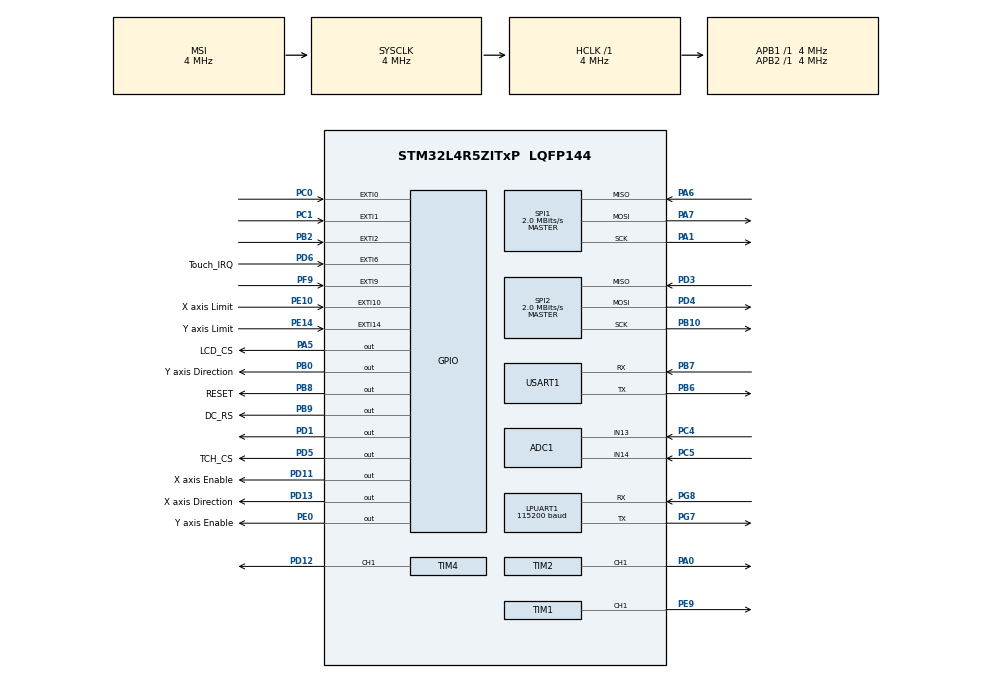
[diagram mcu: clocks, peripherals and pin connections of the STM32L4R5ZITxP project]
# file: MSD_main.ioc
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ADC1.Channel-1\#ChannelRegularConversion=ADC_CHANNEL_13
ADC1.NbrOfConversionFlag=1
ADC1.OffsetNumber-1\#ChannelRegularConversion=ADC_OFFSET_NONE
ADC1.Rank-1\#ChannelRegularConversion=1
ADC1.SamplingTime-1\#ChannelRegularConversion=ADC_SAMPLETIME_2CYCLES_5
ADC1.master=1
LPUART1.BaudRate=115200
LPUART1.WordLength=UART_WORDLENGTH_8B
Mcu.Family=STM32L4
Mcu.Name=STM32L4R5ZITxP
Mcu.Package=LQFP144
NVIC.EXTI15_10_IRQn=true\:0\:0\:false\:false\:true\:true\:true\:true
NVIC.EXTI1_IRQn=true\:0\:0\:false\:false\:true\:true\:true\:true
NVIC.EXTI2_IRQn=true\:0\:0\:false\:false\:true\:true\:true\:true
NVIC.EXTI9_5_IRQn=true\:0\:0\:false\:false\:true\:true\:true\:true
NVIC.PriorityGroup=NVIC_PRIORITYGROUP_4
NVIC.TIM1_UP_TIM16_IRQn=true\:0\:0\:false\:false\:true\:true\:true\:true
NVIC.TIM2_IRQn=true\:0\:0\:false\:false\:true\:true\:true\:true
NVIC.TIM4_IRQn=true\:0\:0\:false\:false\:true\:true\:true\:true
PA0.Signal=S_TIM2_CH1
PA1.Mode=Full_Duplex_Master
PA1.Signal=SPI1_SCK
PA13\ (JTMS/SWDIO).Signal=SYS_JTMS-SWDIO
PA14\ (JTCK/SWCLK).Signal=SYS_JTCK-SWCLK
PA3.Signal=ADCx_IN8
PA4.Signal=SPI1_NSS
PA5.GPIO_Label=LCD_CS
PA5.Signal=GPIO_Output
PA6.Mode=Full_Duplex_Master
PA6.Signal=SPI1_MISO
PA7.Mode=Full_Duplex_Master
PA7.Signal=SPI1_MOSI
PA8.Signal=USB_OTG_FS_SOF
PB0.GPIO_Label=Y axis Direction
PB0.Signal=GPIO_Output
PB1.Signal=ADCx_IN16
PB10.Mode=Full_Duplex_Master
PB10.Signal=SPI2_SCK
PB12.Signal=SAI2_FS_A
PB13.Signal=SAI2_SCK_A
PB14.Signal=S_TIM15_CH1
PB15.Signal=SAI2_SD_A
PB2.GPIO_PuPd=GPIO_PULLUP
PB2.Signal=GPXTI2
PB3\ (JTDO/TRACESWO).Signal=SPI3_SCK
PB4\ (NJTRST).Signal=SPI3_MISO
PB5.Signal=SPI3_MOSI
PB6.Mode=Asynchronous
PB6.Signal=USART1_TX
PB7.Mode=Asynchronous
PB7.Signal=USART1_RX
PB8.GPIO_Label=RESET
PB8.PinState=GPIO_PIN_SET
PB8.Signal=GPIO_Output
PB9.GPIO_Label=DC_RS
PB9.Signal=GPIO_Output
PC0.Signal=GPXTI0
PC1.GPIO_ModeDefaultEXTI=GPIO_MODE_IT_FALLING
PC1.GPIO_PuPd=GPIO_PULLUP
PC1.Signal=GPXTI1
PC10.Signal=SDMMC1_D2
PC11.Signal=SDMMC1_D3
PC12.Signal=SDMMC1_CK
PC13.Signal=SYS_WKUP2
PC14-OSC32_IN\ (PC14).Signal=RCC_OSC32_IN
PC15-OSC32_OUT\ (PC15).Signal=RCC_OSC32_OUT
PC3.Signal=ADCx_IN4
PC4.Signal=ADCx_IN13
PC5.Signal=ADCx_IN14
PC6.Signal=SAI2_MCLK_A
PC7.Signal=S_TIM3_CH2
PC8.Signal=SDMMC1_D0
PC9.Signal=SDMMC1_D1
PD0.Signal=CAN1_RX
PD1.Signal=GPIO_Output
PD11.GPIO_Label=X axis Enable
PD11.Signal=GPIO_Output
PD12.Signal=S_TIM4_CH1
PD13.GPIO_Label=X axis Direction
PD13.Signal=GPIO_Output
PD14.Signal=S_TIM4_CH3
PD15.Signal=S_TIM4_CH4
PD2.Signal=SDMMC1_CMD
PD3.Mode=Full_Duplex_Master
PD3.Signal=SPI2_MISO
PD4.Mode=Full_Duplex_Master
PD4.Signal=SPI2_MOSI
PD5.GPIO_Label=TCH_CS
PD5.PinState=GPIO_PIN_SET
PD5.Signal=GPIO_Output
PD6.GPIO_Label=Touch_IRQ
PD6.GPIO_ModeDefaultEXTI=GPIO_MODE_IT_FALLING
PD6.GPIO_PuPd=GPIO_PULLUP
PD6.Signal=GPXTI6
PD8.Signal=USART3_TX
PD9.Signal=USART3_RX
PE0.GPIO_Label=Y axis Enable
PE0.Signal=GPIO_Output
PE10.GPIO_Label=X axis Limit
PE10.GPIO_ModeDefaultEXTI=GPIO_MODE_IT_FALLING
PE10.GPIO_PuPd=GPIO_PULLUP
PE10.Signal=GPXTI10
PE11.Signal=S_TIM1_CH2
PE12.Signal=TIM1_CH3N
PE13.Signal=S_TIM1_CH3
PE14.GPIO_Label=Y axis Limit
PE14.GPIO_ModeDefaultEXTI=GPIO_MODE_IT_FALLING
PE14.GPIO_PuPd=GPIO_PULLUP
PE14.Signal=GPXTI14
PE15.Signal=TIM1_BKIN
PE2.Signal=SAI1_MCLK_A
PE3.Signal=SAI1_SD_B
PE7.Signal=S_TIM1_ETR
PE8.Signal=TIM1_CH1N
PE9.Signal=S_TIM1_CH1
PF0.Signal=I2C2_SDA
PF1.Signal=I2C2_SCL
PF2.Signal=I2C2_SMBA
PF7.Signal=SAI1_MCLK_B
PF9.GPIO_ModeDefaultEXTI=GPIO_MODE_IT_FALLING
PF9.Signal=GPXTI9
PG7.Mode=Asynchronous
PG7.Signal=LPUART1_TX
PG8.Mode=Asynchronous
PG8.Signal=LPUART1_RX
PH0-OSC_IN\ (PH0).Signal=RCC_OSC_IN
PH1-OSC_OUT\ (PH1).Signal=RCC_OSC_OUT
ProjectManager.HeapSize=0x200
ProjectManager.StackSize=0x400
ProjectManager.TargetToolchain=STM32CubeIDE
RCC.ADCFreq_Value=32000000
RCC.AHBFreq_Value=4000000
RCC.APB1Freq_Value=4000000
RCC.APB1TimFreq_Value=4000000
RCC.APB2Freq_Value=4000000
RCC.APB2TimFreq_Value=4000000
RCC.CortexFreq_Value=4000000
RCC.HCLKFreq_Value=4000000
RCC.HSE_VALUE=8000000
RCC.HSI48_VALUE=48000000
RCC.HSI_VALUE=16000000
RCC.LSE_VALUE=32768
RCC.MSI_VALUE=4000000
RCC.PLLSAI1N=16
RCC.SYSCLKFreq_VALUE=4000000
RCC.USBFreq_Value=32000000
RCC.VCOOutputFreq_Value=32000000
SH.ADCx_IN13.0=ADC1_IN13,IN13-Single-Ended
SH.ADCx_IN14.0=ADC1_IN14,IN14-Single-Ended
SH.ADCx_IN16.0=ADC1_IN16
SH.ADCx_IN4.0=ADC1_IN4
SH.ADCx_IN8.0=ADC1_IN8
SH.S_TIM15_CH1.0=TIM15_CH1
SH.S_TIM1_CH1.0=TIM1_CH1,PWM Generation1 CH1
SH.S_TIM1_CH2.0=TIM1_CH2
SH.S_TIM1_CH3.0=TIM1_CH3
SH.S_TIM1_ETR.0=TIM1_ETR
SH.S_TIM2_CH1.0=TIM2_CH1,PWM Generation1 CH1
SH.S_TIM3_CH2.0=TIM3_CH2
SH.S_TIM4_CH1.0=TIM4_CH1,PWM Generation1 CH1
SH.S_TIM4_CH3.0=TIM4_CH3
SH.S_TIM4_CH4.0=TIM4_CH4
SPI1.CalculateBaudRate=2.0 MBits/s
SPI1.DataSize=SPI_DATASIZE_8BIT
SPI1.Direction=SPI_DIRECTION_2LINES
SPI1.Mode=SPI_MODE_MASTER
SPI1.VirtualType=VM_MASTER
SPI2.CalculateBaudRate=2.0 MBits/s
SPI2.DataSize=SPI_DATASIZE_8BIT
SPI2.Direction=SPI_DIRECTION_2LINES
SPI2.Mode=SPI_MODE_MASTER
SPI2.VirtualType=VM_MASTER
TIM1.Channel-PWM\ Generation1\ CH1=TIM_CHANNEL_1
TIM1.Period=999
TIM1.Prescaler=1
TIM1.Pulse-PWM\ Generation1\ CH1=500
TIM1.RepetitionCounter=0
TIM2.AutoReloadPreload=TIM_AUTORELOAD_PRELOAD_ENABLE
TIM2.Channel-PWM\ Generation1\ CH1=TIM_CHANNEL_1
TIM2.Period=999
TIM2.Prescaler=1
TIM2.Pulse-PWM\ Generation1\ CH1=500
TIM4.AutoReloadPreload=TIM_AUTORELOAD_PRELOAD_ENABLE
TIM4.Channel-PWM\ Generation1\ CH1=TIM_CHANNEL_1
TIM4.Period=999
TIM4.Prescaler=1
TIM4.Pulse-PWM\ Generation1\ CH1=500
USART1.FIFOMode=FIFOMODE_ENABLE
USART1.VirtualMode-Asynchronous=VM_ASYNC
VP_TIM1_VS_ClockSourceINT.Mode=Internal
VP_TIM2_VS_ClockSourceINT.Mode=Internal
VP_TIM4_VS_ClockSourceINT.Mode=Internal
board=NUCLEO-L4R5ZI-P

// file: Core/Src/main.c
/* USER CODE BEGIN Header */
/**
  ******************************************************************************
  * @file           : main.c
  * @brief          : Main program body
  ******************************************************************************
  */
/* USER CODE END Header */
#include "main.h"
#include "adc.h"
#include "usart.h"
#include "spi.h"
#include "tim.h"
#include "gpio.h"

/* USER CODE BEGIN Includes */
#include "gmove.h"
#include "stdio.h"
#include "joystick.h"
#include "lcd_touch.h"
#include "path_data.h"
#include<stdlib.h>
/* USER CODE END Includes */

/* USER CODE BEGIN PD */
#define percentDist(p) ((p) * 5.03238)
#define percentIR(p) (uint16_t)(((uint32_t)(p) * 100) / 1023)
/* USER CODE END PD */

/* USER CODE BEGIN PV */

volatile uint8_t trigger_lcd_touch = 0;
volatile uint8_t trigger_ir_active = 0;
volatile uint8_t trigger_joystick = 0;

extern const int path_lengths[];
extern const double paths[][MAX_POINTS][COORDS];

// --- LCD Touch Tracking Variables ---

  uint8_t play_user_path = 0; // 0: Play default designs | 1: Play user design
  extern int prev_x;
  extern int prev_y;

  extern volatile int lpx;
  extern volatile int lpy;

/* USER CODE END PV */

void SystemClock_Config(void);

/* USER CODE BEGIN 0 */
volatile uint8_t manual_mode = 0;
volatile uint8_t ir_mode = 1;
volatile SystemState current_state = STATE_AUTO_DRAW;

 volatile int user_lcd_path[MAX_LCD_POINTS][2];
 volatile int user_path_length = 0;

volatile uint8_t touch_flag = 0;
volatile uint8_t uart_flag = 0;
uint8_t rx_byte;
uint8_t rx_buffer[5];
uint8_t rx_index = 0;
uint32_t last_activity = 0;

volatile int sendingflag = 0;

void HAL_UART_RxCpltCallback(UART_HandleTypeDef *huart) {
    if (huart->Instance == USART1) {
        if (rx_index == 0 && (rx_byte == 0xAA || rx_byte == 0xAB)) {
            rx_buffer[0] = rx_byte;
            rx_index++;
        } else if (rx_index > 0) {
            rx_buffer[rx_index++] = rx_byte;
            if (rx_index == 5) {
                uart_flag = 1;
                rx_index = 0;
            }
        }
        HAL_UART_Receive_IT(&huart1, &rx_byte, 1);
    }
}
/* USER CODE END 0 */

int main(void)
{

  /* MCU Configuration--------------------------------------------------------*/

  /* Reset of all peripherals, Initializes the Flash interface and the Systick. */
  HAL_Init();

  /* Configure the system clock */
  SystemClock_Config();

  /* Initialize all configured peripherals */
  MX_GPIO_Init();
  MX_TIM1_Init();
  MX_TIM2_Init();
  MX_TIM4_Init();
  MX_ADC1_Init();
  MX_LPUART1_UART_Init();
  MX_USART1_UART_Init();
  MX_SPI1_Init();
  MX_SPI2_Init();
  /* USER CODE BEGIN 2 */
    LCD_Init();
    LCD_ClearScreen();
    LCD_DrawingInit();

    JoyCal joy = {2063.00, 2080.00, 0.00054599, -0.00006252, 0.00001426, -0.00100615};

    float x_out, y_out, mag, angle;

    printf("Homing Gantry...\r\n");
    Gantry_Home();
    printf("Homed!\r\n");

//    uint32_t last_print = 0;
//    int point_index = 0;

    uint32_t last_joy = 0;
  /* USER CODE END 2 */

  /* Infinite loop */
  /* USER CODE BEGIN WHILE */

    // FSM Tracking Variables
      uint8_t auto_draw_step = 0; // 0: Draw, 1: Wait, 2: Move to start, 3: Clear
      uint32_t wait_start_time = 0;
      uint8_t current_design_index = 0; // Tracks which of the 5 designs we are drawing

      setvbuf(stdout, NULL, _IONBF, 0);

      //lcd variables

    while (1)
      {
//          if (touch_flag) {
//              touch_flag = 0;
//              last_activity = HAL_GetTick();
//          }
//
//          if (uart_flag) {
//              uart_flag = 0;
//              last_activity = HAL_GetTick();
//
//              uint16_t x = ((uint16_t)rx_buffer[1] << 8) | rx_buffer[2];
//              uint16_t y = ((uint16_t)rx_buffer[3] << 8) | rx_buffer[4];
//
//              if (rx_buffer[0] == 0xAA) LCD_IRPointerCircle(x, y, 3);
//              else LCD_DrawingPointerCircle(x, y, 3);
//
//              uint16_t irx = percentIR(x);
//              uint16_t iry = percentIR(y);
//              if (!(irx == 100 && iry == 100)) {
//                  lineMove(percentDist(irx), percentDist(iry), 100);
//              }
//          }
//
//          if (manual_mode && (HAL_GetTick() - last_joy > 20)) {
//              last_joy = HAL_GetTick();
//
//              int rawX = getX();
//              int rawY = getY();
//
//              // Deadzone based on your new center values
//              if (abs(rawX - 2063) > 150 || abs(rawY - 2080) > 150) {
//                  last_activity = HAL_GetTick();
//                  joystick_correct(&joy, rawX, rawY, &x_out, &y_out, &mag, &angle);
//                  joyMove(x_out, y_out);
//              } else {
//                  joyMove(0, 0);
//              }
//          }
//
//          if (!manual_mode && (HAL_GetTick() - last_activity > 10000)) {
//              procCSV();
//              last_activity = HAL_GetTick();
//          }
    	//start new code

    	switch (current_state) {

    	          // ==========================================
    	          case STATE_BOOT_HOMING:
    	              // Homing was already done in setup, but we leave this here
    	              // in case you ever want to call a re-home during runtime.
    	              current_state = STATE_AUTO_DRAW;
    	              break;
    	                  	          // ==========================================
    	              // ==========================================
    	                        case STATE_AUTO_DRAW:
    	                            switch(auto_draw_step) {

    	                                // STEP 0: Draw the design
    	                                case 0:
    	                                    // 1. DETERMINE WHICH ARRAY TO USE
    	                                    int current_length = (play_user_path) ? user_path_length : path_lengths[current_design_index];

    	                                    if (play_user_path) {
    	                                        printf("Drawing User LCD Path...\r\n");
    	                                    } else {
    	                                        printf("Drawing design %d...\r\n", current_design_index);
    	                                    }

    	                                    // Loop through the specific number of points for THIS design
    	                                    for (int i = 0; i < current_length; i++) {

    	                                        // 2. FETCH FROM THE CORRECT ARRAY
    	                                        double target_x = (play_user_path) ? user_lcd_path[i][0] : paths[current_design_index][i][0];
    	                                        double target_y = (play_user_path) ? user_lcd_path[i][1] : paths[current_design_index][i][1];

    	                                        // Use your existing lineMove function and percent macros
    	                                        lineMove(percentDist(target_x), percentDist(target_y), 100);

    	                                        // Quick safety break if user pressed the manual mode button OR touched the screen mid-draw
    	                                        if (manual_mode || current_state == STATE_LCD_MODE || current_state == STATE_IR_MODE || current_state == STATE_LCD_INTER) break;
    	                                    }

    	                                    // Transition to Wait Step
    	                                    wait_start_time = HAL_GetTick();
    	                                    auto_draw_step = 1;
    	                                    break;

    	                                // STEP 1: Wait 10 seconds
    	                                case 1:
    	                                    // Only advance once 10,000 milliseconds have passed
    	                                    if ((HAL_GetTick() - wait_start_time) >= 10000) {
    	                                        // Advance to the next design index, looping back to 0 if we hit NUM_DESIGNS
    	                                        // ONLY do this if we are playing default paths!
    	                                        if (!play_user_path) {
    	                                            current_design_index = (current_design_index + 1) % NUM_DESIGNS;
    	                                        }
    	                                        auto_draw_step = 2;
    	                                    }
    	                                    break;

    	                                // STEP 2: Move to the first point of the NEXT design
    	                                case 2:
    	                                    printf("Moving to start of next design...\r\n");

    	                                    // 3. FETCH THE STARTING POINT FROM THE CORRECT ARRAY
    	                                    double start_x = (play_user_path) ? user_lcd_path[0][0] : paths[current_design_index][0][0];
    	                                    double start_y = (play_user_path) ? user_lcd_path[0][1] : paths[current_design_index][0][1];

    	                                    lineMove(percentDist(start_x), percentDist(start_y), 100);

    	                                    auto_draw_step = 3;
    	                                    break;

    	                                // STEP 3: Perform the mechanical clear
    	                                case 3:
    	                                    printf("Mechanical Clear sequence triggered...\r\n");

    	                                    // CALL EXTERNAL CLEARING FUNCTION HERE LATER
    	                                    Mechanical_Clear_Sequence();

    	                                    // Loop back to Step 0 to draw the new design
    	                                    auto_draw_step = 0;
    	                                    break;
    	                            }

    	                            // --- Interrupt Checks for Auto Draw ---
    	                            // If the physical button changed manual_mode to 1, break out!
    	                            if (manual_mode) {
    	                                printf("Switching to Joystick Mode!\r\n");
    	                                current_state = STATE_JOYSTICK_MODE;
    	                            }
    	                            // The LCD transition is already handled safely by the Touch_EXTI_Callback!

    	                            break; // End of STATE_AUTO_DRAW

    	          // ==========================================
    	          case STATE_JOYSTICK_MODE:

    	              // Run joystick if we are past the 20ms debounce/refresh rate
    	              if (HAL_GetTick() - last_joy > 20) {
    	                  last_joy = HAL_GetTick();

    	                  int rawX = getX();
    	                  int rawY = getY();

    	                  // Deadzone check
    	                  if (abs(rawX - 2063) > 150 || abs(rawY - 2080) > 150) {
    	                      joystick_correct(&joy, rawX, rawY, &x_out, &y_out, &mag, &angle);
    	                      joyMove(x_out, y_out);
    	                  } else {
    	                      joyMove(0, 0); // Stop motors if stick is centered
    	                  }
    	              }

    	              // Exit condition: if the button is pressed again, return to Auto Draw
    	              if (!manual_mode) {
    	                  printf("Switching back to Auto Draw!\r\n");
    	                  joyMove(0, 0); // Ensure motors stop completely

						printf("Rehoming gantry to reset open-loop coordinates...\r\n");
						Gantry_Home();
						printf("Homed!\r\n");

						// Reset the Auto Draw state machine so it clears the board and starts fresh
						auto_draw_step = 3;
						current_state = STATE_AUTO_DRAW;
    	              }
    	              break;

    	              // ==========================================
    	          case STATE_LCD_INTER:
    	        	  break;
    	                        case STATE_LCD_MODE:
    	                        	//printf("stable LCD MODE REACHED ONCE SAVED");
    	                        	//HAL_Delay(1000);
    	                        	Gantry_Home();
    	                        	sendingflag = 0;
    	                        	procUserDrawing();
    	                        	HAL_Delay(5000);
     	    		    		    current_state = STATE_AUTO_DRAW;
     	    		    		    Gantry_Home();
    	                            break;

    	          //==========================================
    	          case STATE_IR_MODE:
    	              // Wii remote logic goes here later
    	    		  	  uint8_t start = 0;
    	    		      HAL_StatusTypeDef status;

    	    		       status = HAL_UART_Receive(&huart1, &start, 1, 1000);
    	    		       if (status != HAL_OK)
    	    		       {
    	    		           printf("Timeout or RX fail waiting for start\r\n");
    	    		           continue;
    	    		       }

    	    		       if (start != 0xAA && start != 0xAB)
						   {
							   continue;
						   }

    	    		       uint8_t raw[4] = {0};
    	    		       status = HAL_UART_Receive(&huart1, raw, 4, 1);
    	    		       if (status != HAL_OK)
    	    		       {
    	    		           printf("Payload RX fail\r\n");
    	    		           continue;
    	    		       }

    	    		       uint16_t x = ((uint16_t)raw[0] << 8) | raw[1];
    	    		       uint16_t y = ((uint16_t)raw[2] << 8) | raw[3];

    	    		       printf("raw = %02X %02X %02X %02X | x = %u, y = %u\r\n",
    	    		              raw[0], raw[1], raw[2], raw[3], x, y);

    	    		       if (start == 0xAA) {// cursor mode
    	    		       LCD_IRPointerCircle(x, y, 3);
    	    		       }

    	    		       else {// draw mode
    	    		    	   if ((x > 0 && x < 160) && (y < 120 && y > 40)) {
    	    		    		   for (int i = 0; i < user_path_length; i++) {
									    printf("x: %d, y: %d\n\r", 100 - user_lcd_path[i][0], user_lcd_path[i][1]);
								   }
    	    		    		   //submit
    	    		    		   //skip first element

    	    		    		   Gantry_Home();
    	    		    		   sendingflag = 0;
    	    		    		   procUserDrawing();
   	                        	   HAL_Delay(5000);

    	    		    		   //go back to main
   	                        	   current_state = STATE_AUTO_DRAW;
    	    		    		   Gantry_Home();

    	    		    		   break;
    	    		    	   }
    	    		    	   else if ((x > 160 && x < 320) && (y < 120 && y > 40)) {
    	    		    		   //clear
    	    		    		   clearArray();
    	    		    		   LCD_ClearScreen();
								   LCD_DrawingInit();
    	    		    	   }

    	    		    	   //processing to gantry coordinates
    	    		    	   float newx = 100 - ((x/320.0) * 100);
    	    		    	   float newy = ((y - 120)/320.0 * 100);
    	    		    	   if (!((newx <= 0 || newy <=0) || (newx > 100) || (newy > 100))) {
    	    		    		   user_lcd_path[user_path_length][0] = (int)newx;
								   user_lcd_path[user_path_length][1] = (int)newy;
								   user_path_length++;
    	    		    	   }

    	    		    	   LCD_DrawingPointerCircle(x, y, 3);
    	    		       }

    	              break;

    	          // ==========================================
//    	          case STATE_CLEARING:
//    	        	  printf("we are clearing jlbc\n");
//    	        	  sendingflag = 0;
//    	        	  static uint32_t clear_start_time = 0;
//
//    	        	      if (trigger_clear_btn == 1) {
//    	        	          // Turn ON PD1
//    	        	          HAL_GPIO_WritePin(GPIOD, GPIO_PIN_1, GPIO_PIN_SET);
//    	        	          clear_start_time = HAL_GetTick();
//    	        	          trigger_clear_btn = 2; // Move to the "waiting" phase
//    	        	      }
//
//    	        	      // Check if 5 seconds (5000ms) have passed
//    	        	      if (trigger_clear_btn == 2 && (HAL_GetTick() - clear_start_time >= 5000)) {
//    	        	          // Turn OFF PD1
//    	        	          HAL_GPIO_WritePin(GPIOD, GPIO_PIN_1, GPIO_PIN_RESET);
//    	        	          trigger_clear_btn = 0; // Reset the flag completely
//    	        	      }
//    	        	  break;
    /* USER CODE END WHILE */

    }
}
}

void SystemClock_Config(void)
{
  RCC_OscInitTypeDef RCC_OscInitStruct = {0};
  RCC_ClkInitTypeDef RCC_ClkInitStruct = {0};

  /** Configure the main internal regulator output voltage
  */
  if (HAL_PWREx_ControlVoltageScaling(PWR_REGULATOR_VOLTAGE_SCALE1) != HAL_OK)
  {
    Error_Handler();
  }

  /** Initializes the RCC Oscillators according to the specified parameters
  * in the RCC_OscInitTypeDef structure.
  */
  RCC_OscInitStruct.OscillatorType = RCC_OSCILLATORTYPE_MSI;
  RCC_OscInitStruct.MSIState = RCC_MSI_ON;
  RCC_OscInitStruct.MSICalibrationValue = 0;
  RCC_OscInitStruct.MSIClockRange = RCC_MSIRANGE_6;
  RCC_OscInitStruct.PLL.PLLState = RCC_PLL_NONE;
  if (HAL_RCC_OscConfig(&RCC_OscInitStruct) != HAL_OK)
  {
    Error_Handler();
  }

  /** Initializes the CPU, AHB and APB buses clocks
  */
  RCC_ClkInitStruct.ClockType = RCC_CLOCKTYPE_HCLK|RCC_CLOCKTYPE_SYSCLK
                              |RCC_CLOCKTYPE_PCLK1|RCC_CLOCKTYPE_PCLK2;
  RCC_ClkInitStruct.SYSCLKSource = RCC_SYSCLKSOURCE_MSI;
  RCC_ClkInitStruct.AHBCLKDivider = RCC_SYSCLK_DIV1;
  RCC_ClkInitStruct.APB1CLKDivider = RCC_HCLK_DIV1;
  RCC_ClkInitStruct.APB2CLKDivider = RCC_HCLK_DIV1;

  if (HAL_RCC_ClockConfig(&RCC_ClkInitStruct, FLASH_LATENCY_0) != HAL_OK)
  {
    Error_Handler();
  }
}

/* USER CODE BEGIN 4 */
#ifdef __GNUC__
#define PUTCHAR_PROTOTYPE int __io_putchar(int ch)
#else
  #define PUTCHAR_PROTOTYPE int fputc(int ch, FILE *f)
#endif /* __GNUC__ */
PUTCHAR_PROTOTYPE
{
  HAL_UART_Transmit(&hlpuart1, (uint8_t *)&ch, 1, 0xFFFF);
  return ch;
}

void HAL_GPIO_EXTI_Callback(uint16_t GPIO_Pin) {
    if (GPIO_Pin == GPIO_PIN_1) {
        static uint32_t last_press = 0;
        // Ignore any presses within 200ms of the last one
        if (HAL_GetTick() - last_press > 200) {
            manual_mode = !manual_mode;
            last_press = HAL_GetTick();
        }
    }

	if (GPIO_Pin == GPIO_PIN_6) {

	        // 1. HARDWARE SANITY CHECK
	        if (HAL_GPIO_ReadPin(GPIOD, GPIO_PIN_6) == GPIO_PIN_SET) return;

	        // 2. STOP THE MOTORS IF WE WERE AUTO-DRAWING
	        if (current_state == STATE_AUTO_DRAW) {
	            joyMove(0, 0);
	            // Gantry_AbortMove(); // (If you added this function earlier, uncomment it!)
	            current_state = STATE_LCD_MODE;
	            printf("Screen touched! Switching to LCD Mode...\r\n");
	        }

	        // 3. READ TOUCH PRESSURE (Raised to 100 to kill weak ghost touches)
	        uint16_t z1 = Touch_Read(0xB0);
	        if (z1 < 100 || z1 > 4000) return;

	        Touch_Read(0xD0);
	        Touch_Read(0x90);

	        uint32_t sum_x = 0;
	        uint32_t sum_y = 0;
	        for (int i = 0; i < 10; i++) {
	            sum_x += Touch_Read(0xD0);
	            sum_y += Touch_Read(0x90);
	        }

	        uint16_t raw_x = sum_x / 10;
	        uint16_t raw_y = sum_y / 10;

	        if (raw_x < 50 || raw_x > 4000 || raw_y < 50 || raw_y > 4000) return;

	        // 4. MAP TO PIXELS
	        if (raw_x < 200) raw_x = 200;
	        if (raw_x > 1811) raw_x = 1811;
	        if (raw_y < 200) raw_y = 200;
	        if (raw_y > 1920) raw_y = 1920;

	        int pixel_x = ((int)raw_x - 200) * 320 / (1811 - 200);
	        int pixel_y = 479 - (((int)raw_y - 200) * 480 / (1920 - 200));

	        // Clamp bounds securely
	        if (pixel_x < 0) pixel_x = 0;
	        if (pixel_x > 319) pixel_x = 319;
	        if (pixel_y < 0) pixel_y = 0;
	        if (pixel_y > 479) pixel_y = 479;

	        // ==========================================================
	        // UI ELEMENT 1: MODE SWITCH BUTTON (Active in ALL states)
	        // ==========================================================
	        if (pixel_y < 40) {
	            static uint32_t last_mode_switch = 0;

	            if (HAL_GetTick() - last_mode_switch > 500) {
	                if (current_state == STATE_IR_MODE) {
	                    printf("Switching back to Touch mode!\n\r");
	                    current_state = STATE_LCD_MODE;
	                } else {
	                    printf("Switching to IR mode!\n\r");
	                    clearArray();
	                    current_state = STATE_IR_MODE;
	                    sendingflag = 1;
	                }
	                LCD_ClearScreen();
	                LCD_DrawingInit();
	                lpx = -1; lpy = -1; // Reset line drawing
	                last_mode_switch = HAL_GetTick();
	            }
	            return; // ALWAYS return after hitting a UI button
	        }

	        // ==========================================================
	        // GATED AREA: Only Touch Mode allowed past this point!
	        // ==========================================================
	        if (current_state == STATE_IR_MODE) {
	            return;
	        }

	        // ==========================================================
	        // UI ELEMENT 2: CLEAR AND SAVE BUTTONS
	        // ==========================================================
	        if (pixel_y >= 40 && pixel_y < 100) {
	            static uint32_t last_ui_press = 0;

	            // Debounce the Clear and Save buttons by 500ms
	            if (HAL_GetTick() - last_ui_press > 500) {

	                if (pixel_x >= 160) {
	                    // --- CLEAR BUTTON ---
	                    LCD_ClearScreen();
	                    LCD_DrawingInit();
	                    printf("CLEAR_LOG\n\r");
	                    user_path_length = 0; // ACTUALLY clear the memory!
	                    lpx = -1;
	                    lpy = -1;
	                } else {
	                    // --- SAVE BUTTON ---
	                    sendingflag = 1;
	                    printf("SAVE_FILE\n\r");
	                    for (int i = 0; i < user_path_length; i++) {
	                        printf("x: %d, y: %d\n\r", 100 - user_lcd_path[i][0], user_lcd_path[i][1]);
	                    }
	                    current_state = STATE_LCD_MODE;
	                }
	                last_ui_press = HAL_GetTick();
	            }
	            return; // ALWAYS return after hitting a UI button
	        }

	        // ==========================================================
	        // DRAWING LOGIC (Only runs if below buttons and in Touch Mode)
	        // ==========================================================
	        if (lpx == -1) {
	            lpx = pixel_x;
	            lpy = pixel_y;
	        } else {
	            // Drop crazy outlier coordinates from electrical noise
	            if (abs(pixel_x - lpx) > 30 || abs(pixel_y - lpy) > 30) return;
	            lpx = pixel_x;
	            lpy = pixel_y;
	        }

	        LCD_DrawingPointerCircle(pixel_x, pixel_y, 3);

	        // Gantry conversions
	        int adjx = 319 - pixel_x;
	        int adjy = pixel_y;

	        int gantryx = (adjx / 320.0) * 100;
	        int gantryy = ((adjy - 120.0) / 320.0) * 100;

	        if (gantryx > 100 || gantryy > 100 || gantryx < 0 || gantryy < 0) return;

	        // Protect array bounds
	        if (user_path_length < MAX_LCD_POINTS) {
	            user_lcd_path[user_path_length][0] = gantryx;
	            user_lcd_path[user_path_length][1] = gantryy;
	            user_path_length++;
	            printf("%d,%d\n\r", gantryx, gantryy);
	        }
	    }
    //x axis limit switch hit
    if (GPIO_Pin == GPIO_PIN_10) {
    	if (x_homing == 1) {
    		HAL_TIM_PWM_Stop(&htim4, TIM_CHANNEL_1); // Kill X motor
    		x_is_homed = 1; // Tell the system X is done
    	}
    }

    // Y-Axis Limit Switch Hit
    if (GPIO_Pin == GPIO_PIN_14) {
    	if (y_homing == 1) {
    		HAL_TIM_PWM_Stop(&htim2, TIM_CHANNEL_1); // Kill Y motor
    		y_is_homed = 1;// Tell the system Y is done
    	}
    }

    if (GPIO_Pin == GPIO_PIN_2) {
    	static uint32_t lpt = 0;
    	uint32_t tcurr = HAL_GetTick();

    	if(tcurr - lpt > 200) {
    		manual_mode = !manual_mode;

			HAL_TIM_PWM_Stop(&htim4, TIM_CHANNEL_1);
			HAL_TIM_PWM_Stop(&htim2, TIM_CHANNEL_1);

    		lpt = tcurr;
    	}
    }

//    if (GPIO_Pin == GPIO_PIN_9) {
//            static uint32_t last_clear_press = 0;
//
//            // 200ms debounce to prevent ghost presses
//            if (HAL_GetTick() - last_clear_press > 200) {
//
//                // Set your trigger flag (Make sure to define this variable at the top of main.c!)
//                trigger_clear_btn = 1;
//
//                // Optional: If you want this button to also interrupt whatever the gantry is doing:
//                 HAL_TIM_PWM_Stop(&htim4, TIM_CHANNEL_1);
//                 HAL_TIM_PWM_Stop(&htim2, TIM_CHANNEL_1);
//                 current_state = STATE_CLEARING;
//                 sendingflag = 1;
//
//                last_clear_press = HAL_GetTick();
//            }
//        }
}

//void Touch_EXTI_Callback(uint16_t GPIO_Pin) {

//}
/* USER CODE END 4 */

void Error_Handler(void)
{
  __disable_irq();
  while (1)
  {
  }
}
